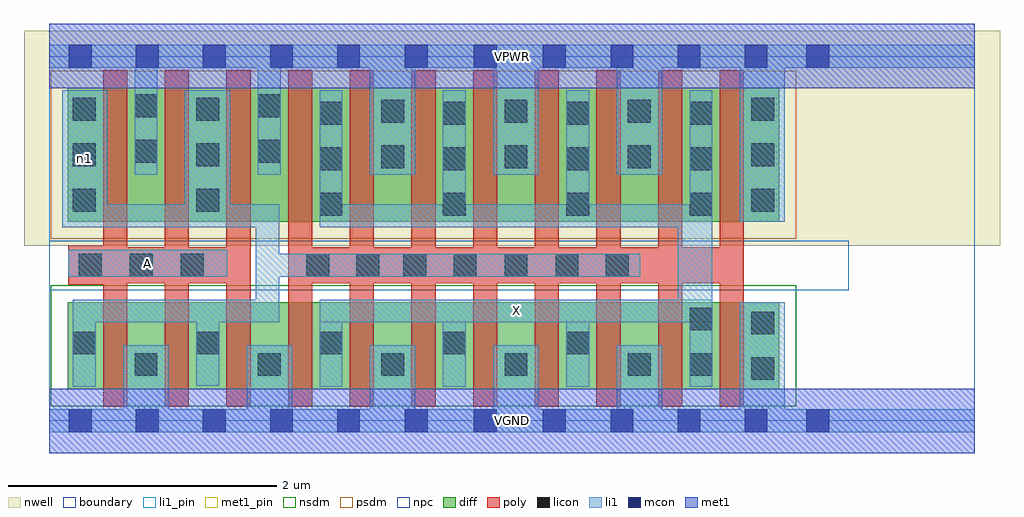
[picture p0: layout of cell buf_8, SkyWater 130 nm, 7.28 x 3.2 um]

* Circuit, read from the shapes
.subckt buf_8 A VGND VPWR X n1
XM1 VGND A n1 VSUBS sky130_fd_pr__nfet_01v8 w=0.65 l=0.18 m=3
XM2 X n1 VGND VSUBS sky130_fd_pr__nfet_01v8 w=0.65 l=0.18 m=8
XM3 VPWR A n1 n2 sky130_fd_pr__pfet_01v8 w=1 l=0.18 m=3
XM4 X n1 VPWR n2 sky130_fd_pr__pfet_01v8 w=1 l=0.18 m=8
.ends

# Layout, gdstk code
import gdstk
lib = gdstk.Library(unit=1e-6, precision=1e-09)
def R(c, l, rs):  # rectangles x0, y0, x1, y1
    for r in rs: c.add(gdstk.rectangle(r[:2], r[2:], *l))
def A(c, l, x, y, w, h, nx, ny, dx, dy):  # array of equal rectangles
    R(c, l, [(x+i*dx, y+j*dy, x+i*dx+w, y+j*dy+h) for i in range(nx) for j in range(ny)])
nwell = (64, 20)
diff = (65, 20)
poly = (66, 20)
licon = (66, 44)
li1_pin = (67, 16)
li1 = (67, 20)
mcon = (67, 44)
met1_pin = (68, 16)
met1 = (68, 20)
nsdm = (93, 44)
psdm = (94, 20)
npc = (95, 20)
boundary = (235, 4)

buf_8 = lib.new_cell('buf_8')
R(buf_8, nwell, [(-0.19,1.305,7.09,2.91), (0,1.305,6.9,2.91)])
R(buf_8, diff, [(0.135,0.235,5.445,0.885), (0.135,1.485,5.445,2.485)])
A(buf_8, poly, 0.4, 0.105, 0.18, 2.51, 11, 1, 0.46, 0)
R(buf_8, poly, [(0.14,1.015,0.58,1.305), (0.14,1.025,1.5,1.295), (1.78,1.025,5.18,1.295)])
A(buf_8, licon, 0.635, 0.335, 0.17, 0.17, 5, 1, 0.92, 0)
A(buf_8, licon, 0.175, 0.495, 0.17, 0.17, 5, 1, 0.92, 0)
A(buf_8, licon, 0.22, 1.075, 0.17, 0.17, 3, 1, 0.38, 0)
A(buf_8, licon, 3.015, 1.075, 0.17, 0.17, 3, 1, 0.38, 0)
A(buf_8, licon, 2.015, 1.53, 0.17, 0.17, 4, 3, 0.92, 0.34)
A(buf_8, licon, 0.175, 1.56, 0.17, 0.17, 1, 3, 0, 0.34)
A(buf_8, licon, 1.095, 1.56, 0.17, 0.17, 1, 3, 0, 0.34)
A(buf_8, licon, 5.235, 1.56, 0.17, 0.17, 1, 3, 0, 0.34)
A(buf_8, licon, 2.475, 1.885, 0.17, 0.17, 3, 2, 0.92, 0.34)
R(buf_8, licon, [(5.235,0.305,5.405,0.475), (4.775,0.335,4.945,0.505), (5.235,0.645,5.405,0.815), (4.775,0.675,4.945,0.845), (1.915,1.075,2.085,1.245), (2.29,1.075,2.46,1.245), (2.64,1.075,2.81,1.245), (4.15,1.075,4.32,1.245), (0.635,1.925,0.805,2.095), (1.555,1.925,1.725,2.095), (0.635,2.265,0.805,2.435), (1.555,2.265,1.725,2.435)])
R(buf_8, li1_pin, [(2.015,0.735,4.945,0.905), (0.14,1.075,1.325,1.275)])
A(buf_8, li1, 0.55, -0.085, 0.34, 0.65, 5, 1, 0.92, 0)
A(buf_8, li1, 2.015, 0.255, 0.17, 0.65, 3, 1, 0.92, 0)
A(buf_8, li1, 2.015, 1.445, 0.17, 1.02, 3, 1, 0.92, 0)
A(buf_8, li1, 2.39, 1.835, 0.34, 0.97, 3, 1, 0.92, 0)
R(buf_8, li1, [(0,-0.085,6.9,0.085), (5.15,-0.085,5.485,0.885), (0.175,0.255,0.345,0.905), (4.775,0.255,4.945,2.465), (1.095,0.26,1.265,0.905), (0.175,0.735,1.715,0.905), (1.54,0.735,1.715,1.615), (2.015,0.735,4.945,0.905), (4.685,0.735,4.945,1.615), (0.14,1.075,1.325,1.275), (1.54,1.075,4.405,1.245), (0.095,1.445,0.43,2.465), (0.095,1.445,1.715,1.615), (1.01,1.445,1.35,2.465), (2.015,1.445,4.945,1.615), (5.15,1.485,5.485,2.805), (0.635,1.835,0.805,2.805), (1.555,1.835,1.725,2.805), (0,2.635,6.9,2.805)])
A(buf_8, mcon, 0.145, -0.085, 0.17, 0.17, 5, 2, 0.5, 2.72)
A(buf_8, mcon, 2.65, -0.085, 0.17, 0.17, 3, 2, 0.515, 2.72)
A(buf_8, mcon, 4.185, -0.085, 0.17, 0.17, 3, 2, 0.5, 2.72)
R(buf_8, mcon, [(5.645,-0.085,5.815,0.085), (5.645,2.635,5.815,2.805)])
R(buf_8, met1_pin, [(0,-0.24,6.9,0.24), (0,2.48,6.9,2.96)])
R(buf_8, met1, [(0,-0.24,6.9,0.24), (0,2.48,6.9,2.96)])
R(buf_8, nsdm, [(0.01,0.11,5.57,1.01)])
R(buf_8, psdm, [(0.01,1.36,5.57,2.61)])
R(buf_8, npc, [(0,0.975,5.96,1.345)])
R(buf_8, boundary, [(0,0,6.9,2.72)])
buf_8.add(gdstk.Label('A', (0.732,1.175), layer=67, texttype=5))
buf_8.add(gdstk.Label('X', (3.48,0.82), layer=67, texttype=5))
buf_8.add(gdstk.Label('n1', (0.262,1.955), layer=67, texttype=5))
buf_8.add(gdstk.Label('VPWR', (3.45,2.72), layer=68, texttype=5))
buf_8.add(gdstk.Label('VGND', (3.45,0), layer=68, texttype=5))
buf_8.add(gdstk.Label('A', (0.732,1.175), layer=67, texttype=16))
buf_8.add(gdstk.Label('X', (3.48,0.82), layer=67, texttype=16))
buf_8.add(gdstk.Label('VPWR', (3.45,2.72), layer=68, texttype=16))
buf_8.add(gdstk.Label('VGND', (3.45,0), layer=68, texttype=16))

lib.write_gds('buf_8.gds')
